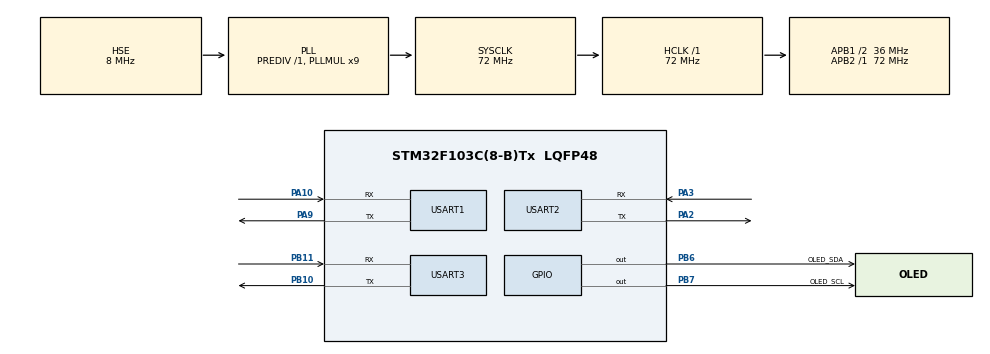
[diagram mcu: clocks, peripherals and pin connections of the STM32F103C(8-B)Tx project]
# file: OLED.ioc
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Mcu.Family=STM32F1
Mcu.Name=STM32F103C(8-B)Tx
Mcu.Package=LQFP48
NVIC.PriorityGroup=NVIC_PRIORITYGROUP_4
NVIC.USART2_IRQn=true\:0\:0\:false\:false\:true\:true
PA10.Mode=Asynchronous
PA10.Signal=USART1_RX
PA13.Mode=Serial_Wire
PA13.Signal=SYS_JTMS-SWDIO
PA14.Mode=Serial_Wire
PA14.Signal=SYS_JTCK-SWCLK
PA2.Mode=Asynchronous
PA2.Signal=USART2_TX
PA3.Mode=Asynchronous
PA3.Signal=USART2_RX
PA9.Mode=Asynchronous
PA9.Signal=USART1_TX
PB10.Mode=Asynchronous
PB10.Signal=USART3_TX
PB11.Mode=Asynchronous
PB11.Signal=USART3_RX
PB6.GPIO_Label=OLED_SDA
PB6.GPIO_ModeDefaultOutputPP=GPIO_MODE_OUTPUT_PP
PB6.PinState=GPIO_PIN_SET
PB6.Signal=GPIO_Output
PB7.GPIO_Label=OLED_SCL
PB7.PinState=GPIO_PIN_SET
PB7.Signal=GPIO_Output
PD0-OSC_IN.Mode=HSE-External-Oscillator
PD0-OSC_IN.Signal=RCC_OSC_IN
PD1-OSC_OUT.Mode=HSE-External-Oscillator
PD1-OSC_OUT.Signal=RCC_OSC_OUT
ProjectManager.HeapSize=0x200
ProjectManager.StackSize=0x400
ProjectManager.TargetToolchain=MDK-ARM V5
RCC.AHBFreq_Value=72000000
RCC.APB1CLKDivider=RCC_HCLK_DIV2
RCC.APB1Freq_Value=36000000
RCC.APB1TimFreq_Value=72000000
RCC.APB2Freq_Value=72000000
RCC.APB2TimFreq_Value=72000000
RCC.HCLKFreq_Value=72000000
RCC.PLLMUL=RCC_PLL_MUL9
RCC.PLLSourceVirtual=RCC_PLLSOURCE_HSE
RCC.SYSCLKFreq_VALUE=72000000
RCC.SYSCLKSource=RCC_SYSCLKSOURCE_PLLCLK
RCC.USBFreq_Value=72000000
USART1.VirtualMode=VM_ASYNC
USART2.VirtualMode=VM_ASYNC
USART3.VirtualMode=VM_ASYNC
board=custom

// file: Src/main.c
/* USER CODE BEGIN Header */
/**
  ******************************************************************************
  * @file           : main.c
  * @brief          : Main program body
  ******************************************************************************
  ** This notice applies to any and all portions of this file
  * that are not between comment pairs USER CODE BEGIN and
  * USER CODE END. Other portions of this file, whether
  * inserted by the user or by software development tools
  * are owned by their respective copyright owners.
  *
  * COPYRIGHT(c) 2020 STMicroelectronics
  *
  * Redistribution and use in source and binary forms, with or without modification,
  * are permitted provided that the following conditions are met:
  *   1. Redistributions of source code must retain the above copyright notice,
  *      this list of conditions and the following disclaimer.
  *   2. Redistributions in binary form must reproduce the above copyright notice,
  *      this list of conditions and the following disclaimer in the documentation
  *      and/or other materials provided with the distribution.
  *   3. Neither the name of STMicroelectronics nor the names of its contributors
  *      may be used to endorse or promote products derived from this software
  *      without specific prior written permission.
  *
  * THIS SOFTWARE IS PROVIDED BY THE COPYRIGHT HOLDERS AND CONTRIBUTORS "AS IS"
  * AND ANY EXPRESS OR IMPLIED WARRANTIES, INCLUDING, BUT NOT LIMITED TO, THE
  * IMPLIED WARRANTIES OF MERCHANTABILITY AND FITNESS FOR A PARTICULAR PURPOSE ARE
  * DISCLAIMED. IN NO EVENT SHALL THE COPYRIGHT HOLDER OR CONTRIBUTORS BE LIABLE
  * FOR ANY DIRECT, INDIRECT, INCIDENTAL, SPECIAL, EXEMPLARY, OR CONSEQUENTIAL
  * DAMAGES (INCLUDING, BUT NOT LIMITED TO, PROCUREMENT OF SUBSTITUTE GOODS OR
  * SERVICES; LOSS OF USE, DATA, OR PROFITS; OR BUSINESS INTERRUPTION) HOWEVER
  * CAUSED AND ON ANY THEORY OF LIABILITY, WHETHER IN CONTRACT, STRICT LIABILITY,
  * OR TORT (INCLUDING NEGLIGENCE OR OTHERWISE) ARISING IN ANY WAY OUT OF THE USE
  * OF THIS SOFTWARE, EVEN IF ADVISED OF THE POSSIBILITY OF SUCH DAMAGE.
  *
  ******************************************************************************
  */
/* USER CODE END Header */

#include "main.h"
#include "usart.h"
#include "gpio.h"

/* USER CODE BEGIN Includes */
#include "oled.h"
#include "bmp.h"
#include "string.h"
/* USER CODE END Includes */

/* USER CODE BEGIN PTD */
uint8_t Rdata[4096];
/* USER CODE END PTD */

void SystemClock_Config(void);

/* USER CODE BEGIN 0 */
int fputc(int ch,FILE *p)
{
	while(!(USART1->SR & (1<<7)));

	USART1->DR = ch;

	return ch;
}
/* USER CODE END 0 */

int main(void)
{

  /* MCU Configuration--------------------------------------------------------*/

  /* Reset of all peripherals, Initializes the Flash interface and the Systick. */
  HAL_Init();

  /* Configure the system clock */
  SystemClock_Config();

  /* Initialize all configured peripherals */
  MX_GPIO_Init();
  MX_USART1_UART_Init();
  MX_USART2_UART_Init();
  MX_USART3_UART_Init();
  /* USER CODE BEGIN 2 */
	u8 t;
	OLED_Init();			//初始化OLED
	OLED_Clear()  	;

	t=' ';
	OLED_ShowCHinese(0,0,0);//中
	OLED_ShowCHinese(18,0,1);//景
	OLED_ShowCHinese(36,0,2);//园
	OLED_ShowCHinese(54,0,3);//电
	OLED_ShowCHinese(72,0,4);//子
	OLED_ShowCHinese(90,0,5);//科
	OLED_ShowCHinese(108,0,6);//技

  /* USER CODE END 2 */

  /* Infinite loop */
  while (1)
  {

    /* USER CODE BEGIN 3 */

		//OLED_Clear();
//		OLED_ShowCHinese(0,0,0);//中
//		OLED_ShowCHinese(18,0,1);//景
//		OLED_ShowCHinese(36,0,2);//园
//		OLED_ShowCHinese(54,0,3);//电
//		OLED_ShowCHinese(72,0,4);//子
//		OLED_ShowCHinese(90,0,5);//科
//		OLED_ShowCHinese(108,0,6);//技
//		OLED_ShowString(12,3,"1.3 OLED TEST",16);
//
//		OLED_ShowString(0,6,"ASCII:",16);
//		OLED_ShowString(63,6,"CODE:",16);
//		OLED_ShowChar(48,6,t,16);//显示ASCII字符
//		t++;
//		if(t>'~')t=' ';
//		OLED_ShowNum(103,6,t,3,16);//显示ASCII字符的码值

		//OLED_Clear();
		OLED_DrawBMP(0,0,128,8,BMP1);  //图片显示(图片显示慎用，生成的字表较大，会占用较多空间，FLASH空间8K以下慎用)
		HAL_Delay(1000);

  }
  /* USER CODE END 3 */
}

void SystemClock_Config(void)
{
  RCC_OscInitTypeDef RCC_OscInitStruct = {0};
  RCC_ClkInitTypeDef RCC_ClkInitStruct = {0};

  /**Initializes the CPU, AHB and APB busses clocks
  */
  RCC_OscInitStruct.OscillatorType = RCC_OSCILLATORTYPE_HSE;
  RCC_OscInitStruct.HSEState = RCC_HSE_ON;
  RCC_OscInitStruct.HSEPredivValue = RCC_HSE_PREDIV_DIV1;
  RCC_OscInitStruct.HSIState = RCC_HSI_ON;
  RCC_OscInitStruct.PLL.PLLState = RCC_PLL_ON;
  RCC_OscInitStruct.PLL.PLLSource = RCC_PLLSOURCE_HSE;
  RCC_OscInitStruct.PLL.PLLMUL = RCC_PLL_MUL9;
  if (HAL_RCC_OscConfig(&RCC_OscInitStruct) != HAL_OK)
  {
    Error_Handler();
  }
  /**Initializes the CPU, AHB and APB busses clocks
  */
  RCC_ClkInitStruct.ClockType = RCC_CLOCKTYPE_HCLK|RCC_CLOCKTYPE_SYSCLK
                              |RCC_CLOCKTYPE_PCLK1|RCC_CLOCKTYPE_PCLK2;
  RCC_ClkInitStruct.SYSCLKSource = RCC_SYSCLKSOURCE_PLLCLK;
  RCC_ClkInitStruct.AHBCLKDivider = RCC_SYSCLK_DIV1;
  RCC_ClkInitStruct.APB1CLKDivider = RCC_HCLK_DIV2;
  RCC_ClkInitStruct.APB2CLKDivider = RCC_HCLK_DIV1;

  if (HAL_RCC_ClockConfig(&RCC_ClkInitStruct, FLASH_LATENCY_2) != HAL_OK)
  {
    Error_Handler();
  }
}

/* USER CODE BEGIN 4 */
void HAL_UART_RxCpltCallback(UART_HandleTypeDef *huart)
{
	if(huart->Instance == USART2)
	{
		printf("json = %s\r\n",Rdata);
		memset(Rdata,0,sizeof(Rdata));
		HAL_UART_Receive_IT(&huart2,Rdata,2096);
	}
}
/* USER CODE END 4 */

void Error_Handler(void)
{
}

/************************ (C) COPYRIGHT STMicroelectronics *****END OF FILE****/
